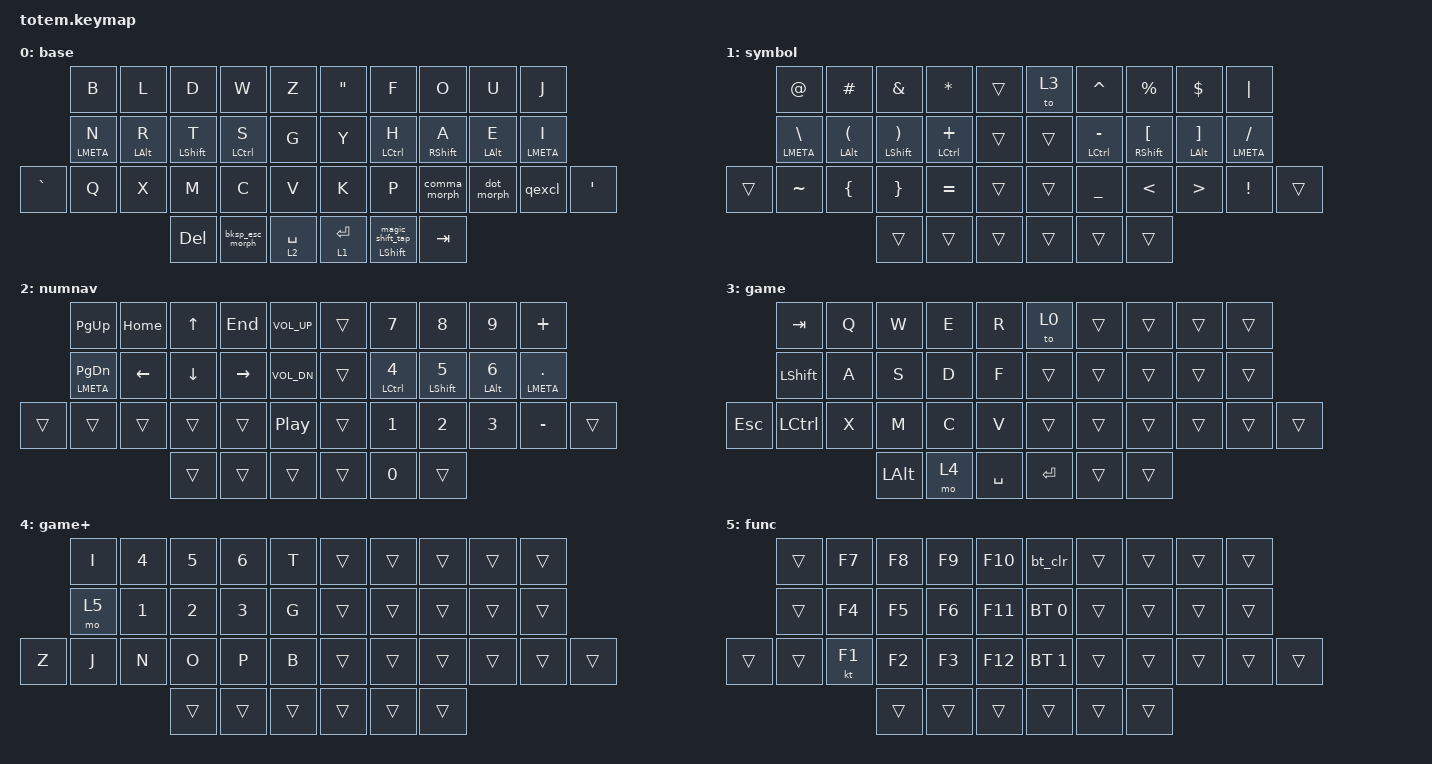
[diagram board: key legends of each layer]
//
//                                                        ▀▀▀▀▀     ▀▀▀▀▀          ▀▀█▀▀
//                                                        ▄▀▀▀▄  ▄  ▄▀▀▀▄  ▄  ▄▀▀▀▄  █  ▄▀▀▀▄
//                                                        █   █  █  █   █  █  █   █  █  █   █
//                                                         ▀▀▀   █   ▀▀▀   █   ▀▀▀   ▀   ▀▀▀
//                                                               █      ▄▄▄█▄▄▄    █   █  
//                                                               ▀      █  █  █     █▄█
//                                                             ▀▀▀▀▀    █  █  █      ▀
//                                                                      ▀  ▀  ▀
//
// ▄▄▄▄▄▄▄▄▄▄▄▄▄▄▄▄▄▄▄▄▄▄▄▄▄▄▄▄▄▄▄▄▄▄▄▄▄▄▄▄▄▄▄▄▄▄▄▄▄▄▄▄▄▄▄▄▄▄▄▄▄▄▄▄▄▄▄▄▄▄▄▄▄▄▄▄▄▄▄▄▄▄▄▄▄▄▄▄▄▄▄▄▄▄▄▄▄▄▄▄▄▄▄▄▄▄▄▄▄▄▄▄▄▄▄▄▄▄▄▄▄▄▄▄▄▄▄▄▄▄▄▄▄▄▄▄▄▄▄▄▄▄▄▄▄▄▄▄▄
// Editor: https://nickcoutsos.github.io/keymap-editor/
// Reference: https://github.com/urob/zmk-config

#define ZMK_POINTING_DEFAULT_SCRL_VAL 100

#include <behaviors.dtsi>
#include <dt-bindings/zmk/bt.h>
#include <dt-bindings/zmk/keys.h>

/* Global defaults */

&sk {
    release-after-ms = <900>;
    quick-release;
};

&sl { ignore-modifiers; };

&lt {
    flavor = "balanced";
    tapping-term-ms = <200>;
    quick-tap-ms = <175>;
};

/ {
    behaviors {
        /* Home Row Mods */

        hrm_l: hrm_l {
            compatible = "zmk,behavior-hold-tap";
            label = "HRM_L";
            bindings = <&kp>, <&kp>;

            #binding-cells = <2>;
            tapping-term-ms = <280>;
            quick-tap-ms = <175>;
            flavor = "balanced";
            hold-trigger-on-release;
            require-prior-idle-ms = <150>;
            hold-trigger-key-positions = <32 33 34 35 36 37 5 6 17 7 8 9 31 15 16 26 27 28 18 29 19 30>;
        };

        hrm_r: hrm_r {
            compatible = "zmk,behavior-hold-tap";
            label = "HRM_R";
            bindings = <&kp>, <&kp>;

            #binding-cells = <2>;
            tapping-term-ms = <280>;
            quick-tap-ms = <175>;
            flavor = "balanced";
            hold-trigger-on-release;
            require-prior-idle-ms = <150>;
            hold-trigger-key-positions = <32 33 34 35 36 37 25 24 14 13 23 12 4 3 2 1 11 22 21 10 0 20>;
        };

        // Tap: comma | Shift + tap: semicolon | Ctrl + shift + tap: <.

        comma_morph: comma_morph {
            compatible = "zmk,behavior-mod-morph";
            label = "COMMA_MORPH";
            bindings = <&kp COMMA>, <&comma_inner_morph>;

            #binding-cells = <0>;
            mods = <(MOD_LSFT)>;
        };

        comma_inner_morph: comma_inner_morph {
            compatible = "zmk,behavior-mod-morph";
            label = "COMMA_INNER_MORPH";
            bindings = <&kp SEMI>, <&kp LT>;

            #binding-cells = <0>;
            mods = <(MOD_LCTL|MOD_RCTL)>;
        };

        // Tap: dot | Shift + tap: colon | Ctrl + shift + tap: >.

        dot_morph: dot_morph {
            compatible = "zmk,behavior-mod-morph";
            label = "DOT_MORPH";
            bindings = <&kp DOT>, <&dot_inner_morph>;

            #binding-cells = <0>;
            mods = <(MOD_LSFT)>;
        };

        dot_inner_morph: dot_inner_morph {
            compatible = "zmk,behavior-mod-morph";
            label = "DOT_INNER_MORPH";
            bindings = <&kp COLON>, <&kp GT>;

            #binding-cells = <0>;
            mods = <(MOD_LCTL|MOD_RCTL)>;
        };

        // Tap: qmark | Shift + tap: excl.

        qexcl: qexcl {
            compatible = "zmk,behavior-mod-morph";
            label = "QEXCL";
            bindings = <&kp QMARK>, <&kp EXCL>;

            #binding-cells = <0>;
            mods = <(MOD_LSFT)>;
        };

        // Tap: left/right parenthesis | Shft + tap: less-than/greater-than.
        // Tap: bspc | Shift + tap: esc

        bksp_esc_morph: bksp_esc_morph {
            compatible = "zmk,behavior-mod-morph";
            label = "BKSP_ESC_MORPH";
            bindings = <&kp BSPC>, <&kp ESC>;

            #binding-cells = <0>;
            mods = <(MOD_LSFT)>;
        };

        // Tap: BT_CLR | Shift + tap: BT_CLR_ALL.

        bt_clr: bt_clr {
            compatible = "zmk,behavior-mod-morph";
            label = "BT_CLR";
            bindings = <&bt BT_CLR>, <&bt BT_CLR_ALL>;

            #binding-cells = <0>;
            mods = <(MOD_LSFT|MOD_RSFT)>;
        };

        // Tap: sticky-shift | Shift + tap: caps_word | Hold: shift.

        magic_shift: magic_shift {
            compatible = "zmk,behavior-hold-tap";
            label = "MAGIC_SHIFT";
            bindings = <&kp>, <&magic_shift_tap>;

            #binding-cells = <2>;
            tapping-term-ms = <200>;
            quick-tap-ms = <175>;
            flavor = "balanced";
        };

        magic_shift_tap: magic_shift_tap {
            compatible = "zmk,behavior-mod-morph";
            label = "MAGIC_SHIFT_TAP";
            bindings = <&sk LSHFT>, <&caps_word>;

            #binding-cells = <0>;
            mods = <(MOD_LSFT|MOD_RSFT)>;
        };
    };

    conditional_layers {
        compatible = "zmk,conditional-layers";

        func_layer {
            if-layers = <1 2>;
            then-layer = <5>;
        };

        game_func {
            if-layers = <4 5>;
            then-layer = <5>;
        };
    };

    keymap {
        compatible = "zmk,keymap";

        base_layer {
            display-name = "base";
            bindings = <
           &kp B           &kp L          &kp D           &kp W            &kp Z          &kp DQT      &kp F                 &kp O           &kp U          &kp J
           &hrm_l LMETA N  &hrm_l LALT R  &hrm_l LSHFT T  &hrm_l LCTRL S   &kp G          &kp Y        &hrm_r LCTRL H        &hrm_r RSHFT A  &hrm_r LALT E  &hrm_r LMETA I
&kp GRAVE  &kp Q           &kp X          &kp M           &kp C            &kp V          &kp K        &kp P                 &comma_morph    &dot_morph     &qexcl          &kp SQT
                                          &kp DEL         &bksp_esc_morph  &lt 2 SPACE    &lt 1 ENTER  &magic_shift LSHFT 0  &kp TAB
            >;
        };

        symbol_layer {
            display-name = "symbol";
            bindings = <
        &kp AT             &kp HASH          &kp AMPS           &kp STAR           &trans    &to 3   &kp CARET           &kp PRCNT          &kp DLLR          &kp PIPE
        &hrm_l LMETA BSLH  &hrm_l LALT LPAR  &hrm_l LSHFT RPAR  &hrm_l LCTRL PLUS  &trans    &trans  &hrm_r LCTRL MINUS  &hrm_r RSHFT LBKT  &hrm_r LALT RBKT  &hrm_r LMETA FSLH
&trans  &kp TILDE          &kp LBRC          &kp RBRC           &kp EQUAL          &trans    &trans  &kp UNDER           &kp LT             &kp GT            &kp EXCL           &trans
                                             &trans             &trans             &trans    &trans  &trans              &trans
            >;
        };

        numnav_layer {
            display-name = "numnav";
            bindings = <
        &kp PG_UP           &kp HOME  &kp UP    &kp END    &kp C_VOL_UP    &trans  &kp N7           &kp N8           &kp N9          &kp PLUS
        &hrm_l LMETA PG_DN  &kp LEFT  &kp DOWN  &kp RIGHT  &kp C_VOL_DN    &trans  &hrm_r LCTRL N4  &hrm_r LSHFT N5  &hrm_r LALT N6  &hrm_r LMETA DOT
&trans  &trans              &trans    &trans    &trans     &kp C_PP        &trans  &kp N1           &kp N2           &kp N3          &kp MINUS         &trans
                                      &trans    &trans     &trans          &trans  &kp N0           &trans
            >;
        };

        game_layer {
            display-name = "game";
            bindings = <
         &kp TAB    &kp Q  &kp W     &kp E  &kp R        &to 0      &trans  &trans  &trans  &trans
         &kp LSHFT  &kp A  &kp S     &kp D  &kp F        &trans     &trans  &trans  &trans  &trans
&kp ESC  &kp LCTRL  &kp X  &kp M     &kp C  &kp V        &trans     &trans  &trans  &trans  &trans  &trans
                           &kp LALT  &mo 4  &kp SPACE    &kp ENTER  &trans  &trans
            >;
        };

        game+_layer {
            display-name = "game+";
            bindings = <
       &kp I  &kp N4  &kp N5        &kp N6  &kp T     &trans  &trans  &trans  &trans  &trans
       &mo 5  &kp N1  &kp NUMBER_2  &kp N3  &kp G     &trans  &trans  &trans  &trans  &trans
&kp Z  &kp J  &kp N   &kp O         &kp P   &kp B     &trans  &trans  &trans  &trans  &trans  &trans
                      &trans        &trans  &trans    &trans  &trans  &trans
            >;
        };

        function_layer {
            display-name = "func";
            bindings = <
        &trans  &kp F7  &kp F8  &kp F9  &kp F10    &bt_clr       &trans  &trans  &trans  &trans
        &trans  &kp F4  &kp F5  &kp F6  &kp F11    &bt BT_SEL 0  &trans  &trans  &trans  &trans
&trans  &trans  &kt F1  &kp F2  &kp F3  &kp F12    &bt BT_SEL 1  &trans  &trans  &trans  &trans  &trans
                        &trans  &trans  &trans     &trans        &trans  &trans
            >;
        };
    };
};
